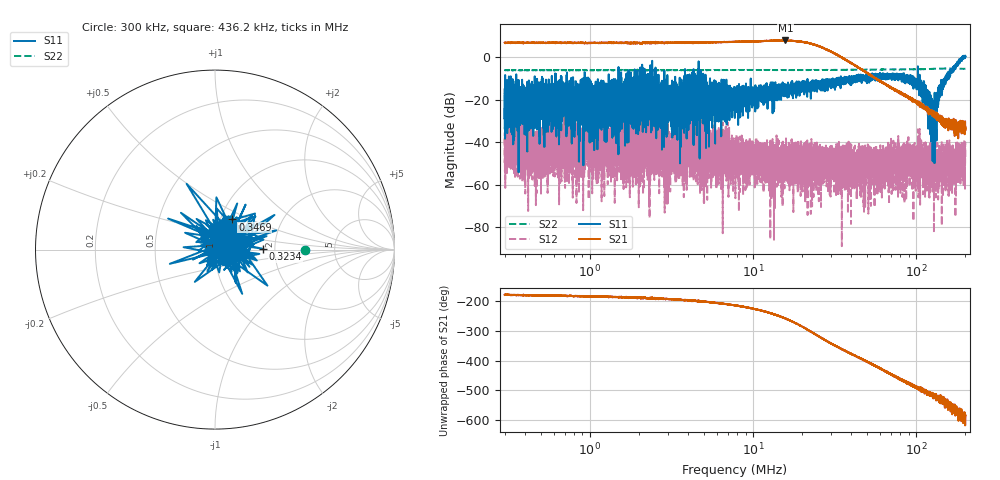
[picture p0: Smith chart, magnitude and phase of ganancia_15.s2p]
# Hz S DB R 50
! CMT, M5065, 19127446, 24.2.4/2
! Date: 11/1/2024 3:16:39 PM
! Data: Format (Calibration Info)
! Freq	S11:dB/Ang(F2)	S21:dB/Ang(F2)	S12:dB/Ang(F2)	S22:dB/Ang(F2)
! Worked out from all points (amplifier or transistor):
!   9000 points, 300 kHz to 200 MHz, reference 50 ohm
!   highest |S21| = 7.9 dB at 15.77 MHz (marker M1)
!   |S21| within 3 dB of that: start of sweep to 25.81 MHz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
!   unconditionally stable (mu >= 1): start of sweep to 191.1 MHz; 191.4824 MHz to 192.2404 MHz; 193.569 MHz to 193.9141 MHz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
!   at 886.8 kHz: K = 16.45, MAG = 8.1 dB, |S12| = -39.7 dB
!   at 7.749 MHz: K = 34.50, MAG = 8.5 dB, |S12| = -46.6 dB
!   at 200 MHz: K = -219.01, MSG = 6.7 dB, |S12| = -46.0 dB
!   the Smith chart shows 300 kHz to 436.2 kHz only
!   S11 on the Smith chart (normalised r, x): 300 kHz: 0.95, -0.11; 323.4 kHz: 1.73, +0.02; 346.9 kHz: 1.14, +0.40; 436.2 kHz: 1.34, -0.00
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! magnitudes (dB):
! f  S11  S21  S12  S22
! 300 kHz  -24.4  6.9  -37.7  -6.0
! 323.4 kHz  -11.4  6.7  -43.1  -6.0
! 346.9 kHz  -14.2  6.8  -43.4  -6.0
! 436.2 kHz  -16.9  6.7  -37.7  -6.0
! 886.8 kHz  -16.1  6.7  -39.7  -6.0
! 1.097 MHz  -20.0  6.7  -41.9  -6.0
! 1.175 MHz  -18.8  6.8  -37.8  -6.1
! 1.26 MHz  -23.0  6.7  -47.8  -6.0
! 1.971 MHz  -19.5  6.8  -39.3  -6.0
! 2.097 MHz  -21.9  6.9  -36.4  -6.0
! 2.621 MHz  -19.8  6.8  -42.5  -6.0
! 3.02 MHz  -17.3  6.9  -36.8  -6.0
! 4.566 MHz  -16.3  6.8  -44.1  -6.0
! 7.749 MHz  -20.7  7.2  -46.6  -6.0
! 15.77 MHz  -13.9  7.9  -43.7  -6.0
! 22.91 MHz  -11.1  6.3  -45.8  -6.0
! 67.71 MHz  -9.2  -13.6  -55.5  -5.7
! 101.6 MHz  -12.7  -21.8  -48.6  -5.6
! 113.7 MHz  -18.7  -23.5  -40.1  -5.6
! 127 MHz  -30.9  -26.3  -42.6  -5.4
! 146.2 MHz  -12.3  -29.0  -48.9  -5.3
! 200 MHz  0.3  -32.7  -46.0  -5.4
